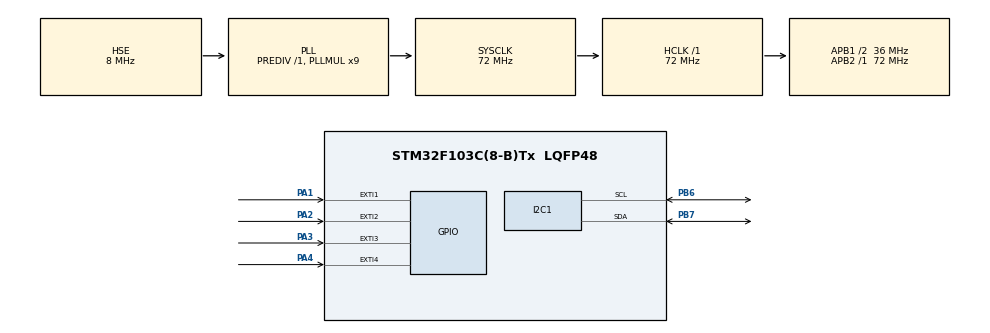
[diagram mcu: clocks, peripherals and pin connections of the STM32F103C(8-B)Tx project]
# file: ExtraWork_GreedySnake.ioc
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Mcu.Family=STM32F1
Mcu.Name=STM32F103C(8-B)Tx
Mcu.Package=LQFP48
NVIC.EXTI1_IRQn=true\:0\:0\:false\:false\:true\:true\:true\:true
NVIC.EXTI2_IRQn=true\:0\:0\:false\:false\:true\:true\:true\:true
NVIC.EXTI3_IRQn=true\:0\:0\:false\:false\:true\:true\:true\:true
NVIC.EXTI4_IRQn=true\:0\:0\:false\:false\:true\:true\:true\:true
NVIC.PriorityGroup=NVIC_PRIORITYGROUP_4
PA1.GPIO_ModeDefaultEXTI=GPIO_MODE_IT_RISING
PA1.Signal=GPXTI1
PA13.Mode=Serial_Wire
PA13.Signal=SYS_JTMS-SWDIO
PA14.Mode=Serial_Wire
PA14.Signal=SYS_JTCK-SWCLK
PA2.Signal=GPXTI2
PA3.Signal=GPXTI3
PA4.Signal=GPXTI4
PB6.Mode=I2C
PB6.Signal=I2C1_SCL
PB7.Mode=I2C
PB7.Signal=I2C1_SDA
PD0-OSC_IN.Mode=HSE-External-Oscillator
PD0-OSC_IN.Signal=RCC_OSC_IN
PD1-OSC_OUT.Mode=HSE-External-Oscillator
PD1-OSC_OUT.Signal=RCC_OSC_OUT
ProjectManager.HeapSize=0x200
ProjectManager.StackSize=0x400
ProjectManager.TargetToolchain=Makefile
RCC.AHBFreq_Value=72000000
RCC.APB1CLKDivider=RCC_HCLK_DIV2
RCC.APB1Freq_Value=36000000
RCC.APB1TimFreq_Value=72000000
RCC.APB2Freq_Value=72000000
RCC.APB2TimFreq_Value=72000000
RCC.HCLKFreq_Value=72000000
RCC.PLLMUL=RCC_PLL_MUL9
RCC.PLLSourceVirtual=RCC_PLLSOURCE_HSE
RCC.SYSCLKFreq_VALUE=72000000
RCC.SYSCLKSource=RCC_SYSCLKSOURCE_PLLCLK
RCC.USBFreq_Value=72000000
board=custom

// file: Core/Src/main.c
/* USER CODE BEGIN Header */
/**
  ******************************************************************************
  * @file           : main.c
  * @brief          : Main program body
  ******************************************************************************
  * @attention
  *
  * Copyright (c) 2026 STMicroelectronics.
  * All rights reserved.
  *
  * This software is licensed under terms that can be found in the LICENSE file
  * in the root directory of this software component.
  * If no LICENSE file comes with this software, it is provided AS-IS.
  *
  ******************************************************************************
  */
/* USER CODE END Header */
#include "main.h"
#include "i2c.h"
#include "gpio.h"

/* USER CODE BEGIN Includes */
#include "OLED.h"
#include "snake.h"
#include <stdlib.h>
/* USER CODE END Includes */

void SystemClock_Config(void);

/* USER CODE BEGIN 0 */
uint32_t GameTime;
/* USER CODE END 0 */

int main(void)
{

  /* MCU Configuration--------------------------------------------------------*/

  /* Reset of all peripherals, Initializes the Flash interface and the Systick. */
  HAL_Init();

  /* Configure the system clock */
  SystemClock_Config();

  /* Initialize all configured peripherals */
  MX_GPIO_Init();
  MX_I2C1_Init();
  /* USER CODE BEGIN 2 */
  OLED_init();
  OLED_display_on();
  OLED_LOGO();
  //HAL_Delay(1500);

  GameTime = HAL_GetTick();
  Food = GetRandomPos();
  srand(HAL_GetTick());

  OLED_operate_gram(PEN_CLEAR);
  /* USER CODE END 2 */

  /* Infinite loop */
  while (1)
  {

    /* USER CODE BEGIN 3 */
    //500ms一帧
     if(HAL_GetTick() - GameTime >= 500)
     {
       Move();
       while(isEnd)//结束时进入死循环
       {
         OLED_printf(1,1,"GAME_OVER!");
         OLED_refresh_gram();
       }
       PrintAll();
       OLED_refresh_gram();
       GameTime += 500;
     }
  }
  /* USER CODE END 3 */
}

void SystemClock_Config(void)
{
  RCC_OscInitTypeDef RCC_OscInitStruct = {0};
  RCC_ClkInitTypeDef RCC_ClkInitStruct = {0};

  /** Initializes the RCC Oscillators according to the specified parameters
  * in the RCC_OscInitTypeDef structure.
  */
  RCC_OscInitStruct.OscillatorType = RCC_OSCILLATORTYPE_HSE;
  RCC_OscInitStruct.HSEState = RCC_HSE_ON;
  RCC_OscInitStruct.HSEPredivValue = RCC_HSE_PREDIV_DIV1;
  RCC_OscInitStruct.HSIState = RCC_HSI_ON;
  RCC_OscInitStruct.PLL.PLLState = RCC_PLL_ON;
  RCC_OscInitStruct.PLL.PLLSource = RCC_PLLSOURCE_HSE;
  RCC_OscInitStruct.PLL.PLLMUL = RCC_PLL_MUL9;
  if (HAL_RCC_OscConfig(&RCC_OscInitStruct) != HAL_OK)
  {
    Error_Handler();
  }

  /** Initializes the CPU, AHB and APB buses clocks
  */
  RCC_ClkInitStruct.ClockType = RCC_CLOCKTYPE_HCLK|RCC_CLOCKTYPE_SYSCLK
                              |RCC_CLOCKTYPE_PCLK1|RCC_CLOCKTYPE_PCLK2;
  RCC_ClkInitStruct.SYSCLKSource = RCC_SYSCLKSOURCE_PLLCLK;
  RCC_ClkInitStruct.AHBCLKDivider = RCC_SYSCLK_DIV1;
  RCC_ClkInitStruct.APB1CLKDivider = RCC_HCLK_DIV2;
  RCC_ClkInitStruct.APB2CLKDivider = RCC_HCLK_DIV1;

  if (HAL_RCC_ClockConfig(&RCC_ClkInitStruct, FLASH_LATENCY_2) != HAL_OK)
  {
    Error_Handler();
  }
}

/* USER CODE BEGIN 4 */
void HAL_GPIO_EXTI_Callback(uint16_t GPIO_Pin)
{
  static uint32_t lastTriggle = 0;
  if(HAL_GetTick() - lastTriggle >= 50)
  {
  if(GPIO_Pin == GPIO_PIN_1 && dir != Down)
  {
    dir = Up;
  }
  if(GPIO_Pin == GPIO_PIN_2 && dir != Right)
  {
    dir = Left;
  }
  if(GPIO_Pin == GPIO_PIN_3 && dir != Up)
  {
    dir = Down;
  }
  if(GPIO_Pin == GPIO_PIN_4 && dir != Left)
  {
    dir = Right;
  }
  }
}
/* USER CODE END 4 */

void Error_Handler(void)
{
  __disable_irq();
  while (1)
  {
  }
}
